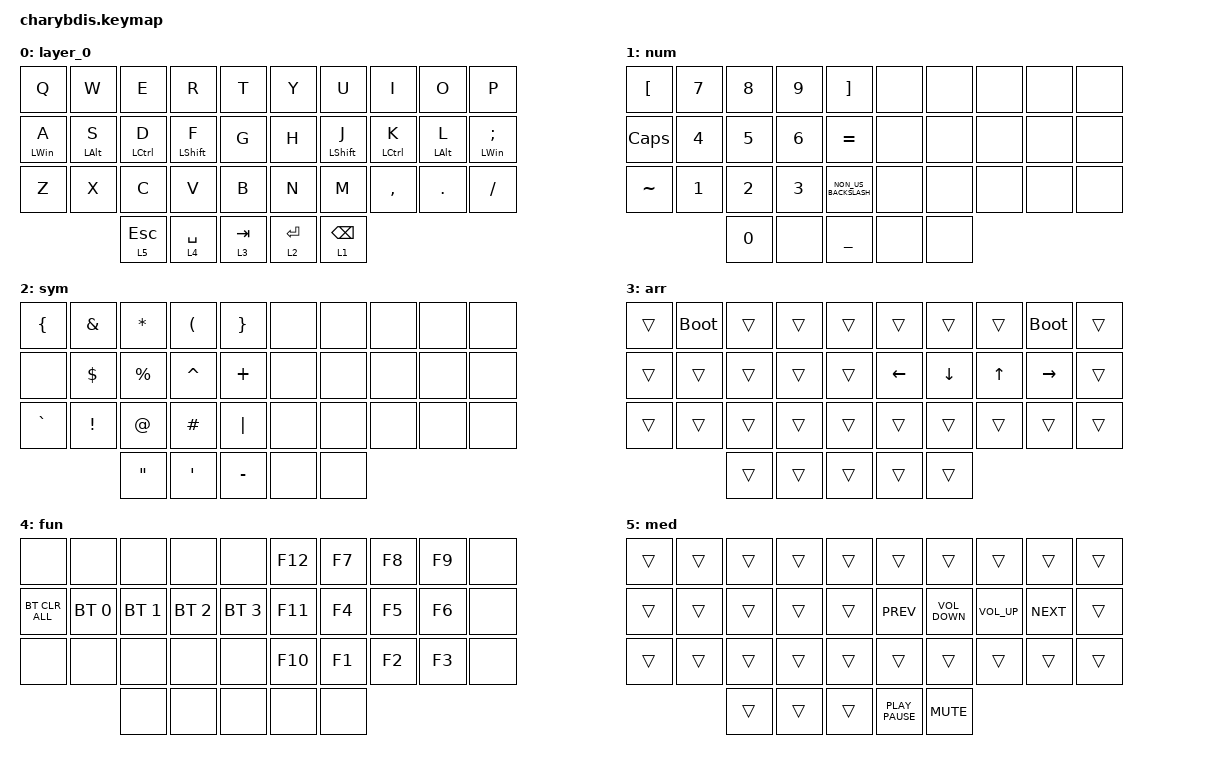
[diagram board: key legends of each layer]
#include <behaviors.dtsi>
#include <dt-bindings/zmk/bt.h>
#include <dt-bindings/zmk/keys.h>
#include <dt-bindings/zmk/pointing.h>
#include <dt-bindings/zmk/rgb.h>

&lt {
    tapping-term-ms = <140>;
    flavor = "tap-preferred";
    quick-tap-ms = <150>;
};

&mt {
    tapping-term-ms = <170>;
    flavor = "tap-preferred";
};

/ {
    macros {
        To1_macro: To1_macro {
            compatible = "zmk,behavior-macro";
            label = "To1_macro";
            #binding-cells = <0>;
            bindings = <&rgb_ug RGB_EFF &rgb_ug RGB_COLOR_HSB(128,100,50) &to 1>;
        };

        To0_macro: To0_macro {
            compatible = "zmk,behavior-macro";
            label = "To0_macro";
            #binding-cells = <0>;
            bindings = <&rgb_ug RGB_EFR &to 0>;
        };

        To2_macro: To2_macro {
            compatible = "zmk,behavior-macro";
            label = "To2_macro";
            #binding-cells = <0>;
            bindings =
                <&to 0>,
                <&macro_wait_time 30>,
                <&rgb_ug RGB_COLOR_HSB(250,100,50)>;
        };
    };

    combos {
        compatible = "zmk,combos";

        leftclick {
            bindings = <&mkp LCLK>;
            key-positions = <26 27>;
        };

        mouseright {
            bindings = <&mkp RCLK>;
            key-positions = <27 28>;
        };

        mouseprev {
            bindings = <&mkp MB4>;
            key-positions = <23 22>;
        };

        mousenext {
            bindings = <&mkp MB5>;
            key-positions = <22 21>;
        };

        lralt {
            bindings = <&kp RIGHT_ALT>;
            key-positions = <13 12>;
        };

        rralt {
            bindings = <&kp LG(RALT)>;
            key-positions = <16 17>;
        };

        left {
            bindings = <&kp LEFT_PARENTHESIS>;
            key-positions = <3 2>;
        };

        right {
            bindings = <&kp RIGHT_PARENTHESIS>;
            key-positions = <6 7>;
        };
    };

    behaviors {
        window_mt: window_mt {
            compatible = "zmk,behavior-hold-tap";
            label = "WINDOW_MT";
            bindings = <&kp>, <&kp>;

            #binding-cells = <2>;
            tapping-term-ms = <200>;
            flavor = "tap-preferred";
        };
    };

    keymap {
        compatible = "zmk,keymap";

        layer_0 {
            bindings = <
&kp Q                  &kp W           &kp E        &kp R        &kp T        &kp Y        &kp U            &kp I        &kp O           &kp P
&window_mt LEFT_WIN A  &mt LEFT_ALT S  &mt LCTRL D  &mt LSHFT F  &kp G        &kp H        &mt LSHFT J      &mt LCTRL K  &mt LEFT_ALT L  &window_mt LEFT_WIN SEMI
&kp Z                  &kp X           &kp C        &kp V        &kp B        &kp N        &kp M            &kp COMMA    &kp DOT         &kp FSLH
                                       &lt 5 ESC    &lt 4 SPACE  &lt 3 TAB    &lt 2 ENTER  &lt 1 BACKSPACE
            >;
        };

        num {
            bindings = <
&kp LEFT_BRACKET  &kp NUMBER_7  &kp NUMBER_8  &kp NUMBER_9  &kp RIGHT_BRACKET       &none  &none  &none  &none  &none
&kp CAPSLOCK      &kp NUMBER_4  &kp NUMBER_5  &kp NUMBER_6  &kp EQUAL               &none  &none  &none  &none  &none
&kp TILDE         &kp NUMBER_1  &kp NUMBER_2  &kp NUMBER_3  &kp NON_US_BACKSLASH    &none  &none  &none  &none  &none
                                &kp NUMBER_0  &none         &kp UNDERSCORE          &none  &none
            >;
        };

        sym {
            bindings = <
&kp LEFT_BRACE  &kp AMPERSAND    &kp ASTERISK       &kp LEFT_PARENTHESIS  &kp RIGHT_BRACE    &none  &none  &none  &none  &none
&none           &kp DOLLAR       &kp PERCENT        &kp CARET             &kp PLUS           &none  &none  &none  &none  &none
&kp GRAVE       &kp EXCLAMATION  &kp AT_SIGN        &kp HASH              &kp PIPE           &none  &none  &none  &none  &none
                                 &kp DOUBLE_QUOTES  &kp SINGLE_QUOTE      &kp MINUS          &none  &none
            >;
        };

        arr {
            bindings = <
&trans  &bootloader  &trans  &trans  &trans    &trans          &trans          &trans        &bootloader      &trans
&trans  &trans       &trans  &trans  &trans    &kp LEFT_ARROW  &kp DOWN_ARROW  &kp UP_ARROW  &kp RIGHT_ARROW  &trans
&trans  &trans       &trans  &trans  &trans    &trans          &trans          &trans        &trans           &trans
                     &trans  &trans  &trans    &trans          &trans
            >;
        };

        fun {
            bindings = <
&none           &none         &none         &none         &none           &kp F12  &kp F7  &kp F8  &kp F9  &none
&bt BT_CLR_ALL  &bt BT_SEL 0  &bt BT_SEL 1  &bt BT_SEL 2  &bt BT_SEL 3    &kp F11  &kp F4  &kp F5  &kp F6  &none
&none           &none         &none         &none         &none           &kp F10  &kp F1  &kp F2  &kp F3  &none
                              &none         &none         &none           &none    &none
            >;
        };

        med {
            bindings = <
&trans  &trans  &trans  &trans  &trans    &trans            &trans             &trans           &trans      &trans
&trans  &trans  &trans  &trans  &trans    &kp K_PREV        &kp C_VOLUME_DOWN  &kp C_VOLUME_UP  &kp K_NEXT  &trans
&trans  &trans  &trans  &trans  &trans    &trans            &trans             &trans           &trans      &trans
                &trans  &trans  &trans    &kp K_PLAY_PAUSE  &kp K_MUTE
            >;
        };

        /* layer_2 {
            bindings = <
&none  &none   &none    &none   &none         &none         &kp N1         &none         &none     &none  &none   &to 0
&none  &none   &none    &none   &none         &none         &none         &none          &rgb_ug RGB_BRD &rgb_ug RGB_BRI  &rgb_ug RGB_EFF   &rgb_ug RGB_TOG
&none  &none   &none    &none   &none         &none         &none         &mkp LCLK     &mkp RCLK  &none  &none   &none
&none  &none   &none    &none   &bt BT_NXT  &bt BT_CLR    &none         &none         &none     &none  &none   &none
                                   &none         &none         &none         &none         &none
                                                 &none         &none         &none
            >;
       
            
        };

       Mouse {
            bindings = <
&none        &none         &none         &none         &none      &none         &none       &none      &none         &none         &none         &none
&none        &bt BT_SEL 0  &bt BT_SEL 1  &bt BT_SEL 3  &none      &bt BT_CLR    &bt BT_CLR  &none      &bt BT_SEL 2  &bt BT_SEL 1  &bt BT_SEL 0  &none
&none        &trans        &trans        &mkp MCLK     &trans     &none         &none       &trans     &mkp MCLK     &trans        &trans        &none
&bootloader  &trans        &mkp RCLK     &mo 4         &mkp LCLK  &mo 5         &mo 5       &mkp LCLK  &mo 4         &mkp RCLK     &trans        &bootloader
                                         &mo 5         &mkp LCLK  &mkp RCLK     &mkp RCLK   &mkp LCLK
                                                       &none      &trans        &trans
            >;

            
        };

        layer_4 {
            bindings = <
&trans  &trans  &trans     &trans     &trans     &trans       &trans     &trans     &trans     &trans     &trans  &trans
&trans  &trans  &trans     &trans     &trans     &trans       &trans     &trans     &trans     &trans     &trans  &trans
&trans  &trans  &trans     &mkp MCLK  &trans     &trans       &trans     &trans     &mkp MCLK  &trans     &trans  &trans
&trans  &trans  &mkp RCLK  &trans     &mkp LCLK  &trans       &trans     &mkp LCLK  &trans     &mkp RCLK  &trans  &trans
                           &trans     &mkp LCLK  &mkp RCLK    &mkp RCLK  &mkp LCLK
                                      &trans     &trans       &trans
            >;
                
                
               
        };

        layer_5 {
            bindings = <
&trans  &trans  &trans     &trans     &trans     &trans       &trans     &trans     &trans     &trans     &trans  &trans
&trans  &trans  &trans     &trans     &trans     &trans       &trans     &trans     &trans     &trans     &trans  &trans
&trans  &trans  &trans     &mkp MCLK  &trans     &trans       &trans     &trans     &mkp MCLK  &trans     &trans  &trans
&trans  &trans  &mkp RCLK  &trans     &mkp LCLK  &trans       &trans     &mkp LCLK  &trans     &mkp RCLK  &trans  &trans
                           &trans     &mkp LCLK  &mkp RCLK    &mkp RCLK  &mkp LCLK
                                      &trans     &trans       &trans
            >;
                
                
        };*/
    };
};
